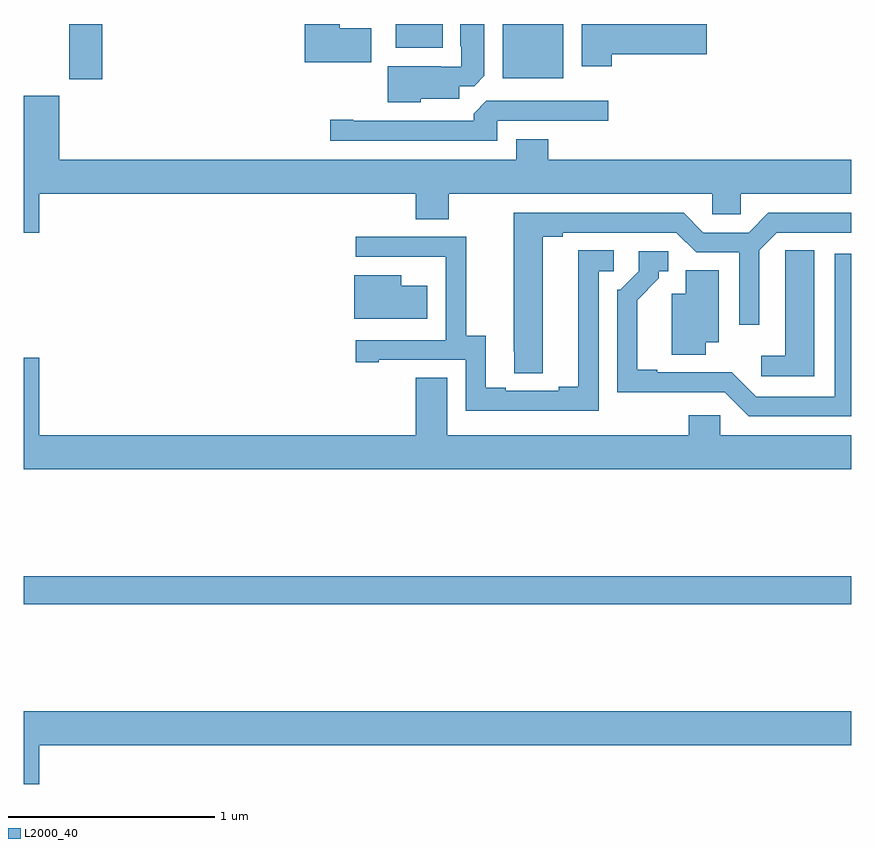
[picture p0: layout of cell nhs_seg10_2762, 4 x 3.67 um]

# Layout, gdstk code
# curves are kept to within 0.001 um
import gdstk
lib = gdstk.Library(unit=1e-6, precision=1e-09)
def R(c, l, rs):  # rectangles x0, y0, x1, y1
    for r in rs: c.add(gdstk.rectangle(r[:2], r[2:], *l))
def P(c, l, *ps):  # polygons
    for p in ps: c.add(gdstk.Polygon(p, *l))
L2000_40 = (2000, 40)

nhs_seg10_2762 = lib.new_cell('nhs_seg10_2762')
R(nhs_seg10_2762, L2000_40, [(261,1267.696,265,1267.832), (261.22,1270.233,261.38,1270.5), (263.315,1270.238,263.608,1270.5), (262.799,1270.385,263.026,1270.5)])
P(nhs_seg10_2762, L2000_40, [(262.92,1270.139),(263.104,1270.139),(263.104,1270.2),(263.178,1270.2),(263.227,1270.249),(263.227,1270.5),(263.111,1270.5),(263.111,1270.393),(263.115,1270.393),(263.115,1270.293),(263.015,1270.293),(263.015,1270.297),(262.76,1270.297),(262.76,1270.121),(262.92,1270.121)],
  [(263.843,1270.355),(264.301,1270.355),(264.301,1270.5),(263.696,1270.5),(263.696,1270.296),(263.843,1270.296)],
  [(262.681,1270.479),(262.528,1270.479),(262.528,1270.5),(262.358,1270.5),(262.358,1270.316),(262.681,1270.316)],
  [(261.076,1269.68),(262.895,1269.68),(262.895,1269.556),(263.055,1269.556),(263.055,1269.68),(264.327,1269.68),(264.327,1269.582),(264.465,1269.582),(264.465,1269.68),(265,1269.68),(265,1269.844),(263.534,1269.844),(263.534,1269.943),(263.381,1269.943),(263.381,1269.844),(261.172,1269.844),(261.172,1270.153),(261,1270.153),(261,1269.492),(261.076,1269.492)],
  [(263.289,1270.032),(263.824,1270.032),(263.824,1270.128),(263.235,1270.128),(263.174,1270.066),(263.174,1270.032),(262.594,1270.032),(262.594,1270.037),(262.482,1270.037),(262.482,1269.936),(263.289,1269.936)],
  [(263.509,1269.472),(263.605,1269.472),(263.605,1269.492),(264.153,1269.492),(264.249,1269.396),(264.459,1269.396),(264.459,1269.048),(264.555,1269.048),(264.555,1269.408),(264.639,1269.492),(265,1269.492),(265,1269.588),(264.599,1269.588),(264.503,1269.492),(264.285,1269.492),(264.189,1269.588),(263.369,1269.588),(263.37,1268.812),(263.509,1268.812)],
  [(263.778,1269.306),(263.851,1269.306),(263.851,1269.407),(263.681,1269.407),(263.681,1268.747),(263.585,1268.747),(263.585,1268.727),(263.329,1268.727),(263.329,1268.742),(263.233,1268.742),(263.233,1268.993),(263.139,1268.993),(263.139,1269.471),(262.605,1269.471),(262.605,1269.375),(263.039,1269.375),(263.039,1269.374),(263.04,1269.374),(263.04,1268.973),(262.605,1268.973),(262.605,1268.865),(262.717,1268.865),(262.717,1268.877),(263.136,1268.877),(263.136,1268.631),(263.778,1268.631)],
  [(264.82,1269.407),(264.681,1269.407),(264.681,1269.299),(264.68,1269.299),(264.68,1268.896),(264.564,1268.896),(264.564,1268.799),(264.82,1268.799)],
  [(265,1269.39),(264.92,1269.39),(264.92,1268.7),(264.54,1268.7),(264.422,1268.818),(264.061,1268.817),(264.061,1268.83),(263.965,1268.83),(263.965,1269.166),(264.07,1269.271),(264.07,1269.306),(264.115,1269.306),(264.115,1269.402),(263.973,1269.402),(263.973,1269.306),(263.883,1269.216),(263.868,1269.216),(263.868,1268.72),(264.387,1268.721),(264.504,1268.604),(265,1268.604)],
  [(264.295,1268.963),(264.358,1268.963),(264.358,1269.311),(264.2,1269.311),(264.2,1269.196),(264.131,1269.196),(264.131,1268.902),(264.295,1268.902)],
  [(262.951,1269.235),(262.825,1269.235),(262.825,1269.286),(262.598,1269.286),(262.598,1269.077),(262.951,1269.077)],
  [(265,1268.512),(264.366,1268.512),(264.366,1268.61),(264.215,1268.61),(264.215,1268.512),(263.047,1268.512),(263.047,1268.792),(262.895,1268.792),(262.895,1268.512),(261.076,1268.512),(261.076,1268.887),(261,1268.887),(261,1268.348),(265,1268.348)],
  [(261.076,1267.016),(265,1267.016),(265,1267.18),(261,1267.18),(261,1266.828),(261.076,1266.828)])

lib.write_gds('nhs_seg10_2762.gds')
